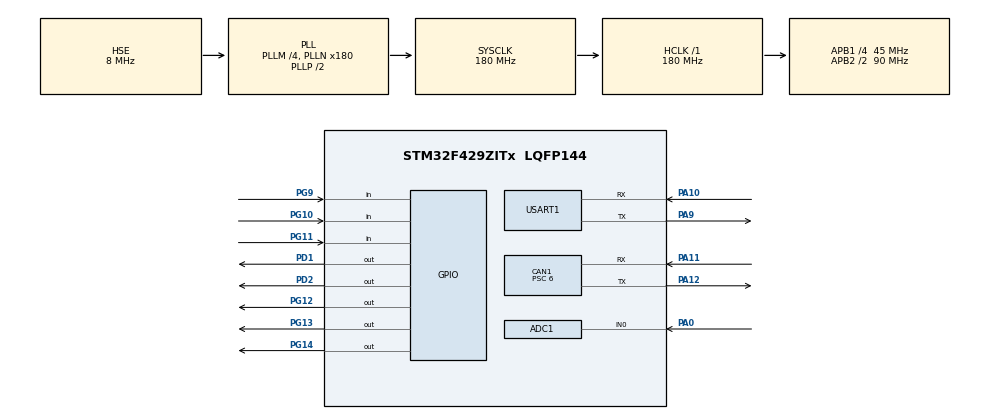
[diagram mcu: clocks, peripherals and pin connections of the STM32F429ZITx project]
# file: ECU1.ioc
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ADC1.Channel-0\#ChannelRegularConversion=ADC_CHANNEL_0
ADC1.ContinuousConvMode=ENABLE
ADC1.NbrOfConversionFlag=1
ADC1.Rank-0\#ChannelRegularConversion=1
ADC1.SamplingTime-0\#ChannelRegularConversion=ADC_SAMPLETIME_3CYCLES
ADC1.master=1
CAN1.BS1=CAN_BS1_9TQ
CAN1.BS2=CAN_BS2_5TQ
CAN1.CalculateBaudRate=500000
CAN1.CalculateTimeBit=2000
CAN1.CalculateTimeQuantum=133.33333333333331
CAN1.NART=ENABLE
CAN1.Prescaler=6
Mcu.Family=STM32F4
Mcu.Name=STM32F429ZITx
Mcu.Package=LQFP144
NVIC.ADC_IRQn=true\:0\:0\:false\:false\:true\:true\:true\:true
NVIC.CAN1_RX0_IRQn=true\:0\:0\:false\:false\:true\:true\:true\:true
NVIC.CAN1_RX1_IRQn=true\:0\:0\:false\:false\:true\:true\:true\:true
NVIC.CAN1_TX_IRQn=true\:0\:0\:false\:false\:true\:true\:true\:true
NVIC.PriorityGroup=NVIC_PRIORITYGROUP_4
NVIC.TIM4_IRQn=true\:0\:0\:false\:false\:true\:true\:true\:true
NVIC.USART1_IRQn=true\:0\:0\:false\:false\:true\:true\:true\:true
PA0/WKUP.Signal=ADCx_IN0
PA10.Mode=Asynchronous
PA10.Signal=USART1_RX
PA11.Mode=CAN_Activate
PA11.Signal=CAN1_RX
PA12.Mode=CAN_Activate
PA12.Signal=CAN1_TX
PA9.Mode=Asynchronous
PA9.Signal=USART1_TX
PD1.Signal=GPIO_Output
PD2.Signal=GPIO_Output
PG10.Signal=GPIO_Input
PG11.Signal=GPIO_Input
PG12.Signal=GPIO_Output
PG13.Signal=GPIO_Output
PG14.Signal=GPIO_Output
PG9.Signal=GPIO_Input
PH0/OSC_IN.Mode=HSE-External-Oscillator
PH0/OSC_IN.Signal=RCC_OSC_IN
PH1/OSC_OUT.Mode=HSE-External-Oscillator
PH1/OSC_OUT.Signal=RCC_OSC_OUT
ProjectManager.HeapSize=0x200
ProjectManager.StackSize=0x400
ProjectManager.TargetToolchain=STM32CubeIDE
RCC.48MHZClocksFreq_Value=90000000
RCC.AHBFreq_Value=180000000
RCC.APB1CLKDivider=RCC_HCLK_DIV4
RCC.APB1Freq_Value=45000000
RCC.APB1TimFreq_Value=90000000
RCC.APB2CLKDivider=RCC_HCLK_DIV2
RCC.APB2Freq_Value=90000000
RCC.APB2TimFreq_Value=180000000
RCC.CortexFreq_Value=180000000
RCC.HCLKFreq_Value=180000000
RCC.HSE_VALUE=8000000
RCC.HSI_VALUE=16000000
RCC.LSE_VALUE=32768
RCC.PLLM=4
RCC.PLLN=180
RCC.PLLSourceVirtual=RCC_PLLSOURCE_HSE
RCC.SYSCLKFreq_VALUE=180000000
RCC.SYSCLKSource=RCC_SYSCLKSOURCE_PLLCLK
RCC.VCOOutputFreq_Value=360000000
SH.ADCx_IN0.0=ADC1_IN0,IN0
TIM4.Period=9000-1
TIM4.Prescaler=10000-1
USART1.VirtualMode=VM_ASYNC
VP_TIM4_VS_ClockSourceINT.Mode=Internal
board=custom

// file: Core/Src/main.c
/* USER CODE BEGIN Header */
/**
  ******************************************************************************
  * @file           : main.c
  * @brief          : Main program body
  ******************************************************************************
  * @attention
  *
  * Copyright (c) 2026 STMicroelectronics.
  * All rights reserved.
  *
  * This software is licensed under terms that can be found in the LICENSE file
  * in the root directory of this software component.
  * If no LICENSE file comes with this software, it is provided AS-IS.
  *
  ******************************************************************************
  */
/* USER CODE END Header */
#include "main.h"

/* USER CODE BEGIN Includes */
#include "dht11.h"
#include<stdio.h>
#include<string.h>

#define temp_id 0x100
#define speed_id 0x200
#define ind_id 0x300

char ind[50];       // for indicator
uint8_t flag = 1;
uint8_t delay;
extern uint8_t adc_value;
extern DHT11_Data_t data;
//uint8_t ind_can[1];    for sending the indicator data to the CAN
uint8_t tim_flag;

/* USER CODE END Includes */

ADC_HandleTypeDef hadc1;

CAN_HandleTypeDef hcan1;

TIM_HandleTypeDef htim4;

UART_HandleTypeDef huart1;

void SystemClock_Config(void);
static void MX_GPIO_Init(void);
static void MX_ADC1_Init(void);
static void MX_CAN1_Init(void);
static void MX_USART1_UART_Init(void);
static void MX_TIM4_Init(void);

/* USER CODE BEGIN 0 */

CAN_TxHeaderTypeDef TxHeader;
uint32_t TxMailbox;
uint8_t TxData[8], RxData[8];
uint8_t count;
void can_transmitter(uint16_t id, uint8_t *data,uint8_t size)
{
	TxHeader.StdId = id;
	TxHeader.IDE = CAN_ID_STD;    // use standard ID
	TxHeader.RTR = CAN_RTR_DATA;  //sending data
	TxHeader.DLC = size;             //Length is 1 byte;
	for(int i=0;i<size;i++)
	{
		TxData[i] = data[i];
	}
	if(HAL_CAN_AddTxMessage(&hcan1, &TxHeader, TxData, &TxMailbox) == HAL_OK)
		HAL_GPIO_WritePin(GPIOG, GPIO_PIN_14, 0);
	else
		HAL_GPIO_WritePin(GPIOG, GPIO_PIN_14, 1);
}

/* Digital Keypad */
#define LEVEL 0
#define STATE 1
unsigned char read_digital_keypad(unsigned char detection_type)
{
	static uint8_t pin1=1,pin2=1,pin3=1, once1=1, once2=1, once3=1;
	pin1 = HAL_GPIO_ReadPin(GPIOG, GPIO_PIN_9);
	pin2 = HAL_GPIO_ReadPin(GPIOG, GPIO_PIN_10);
	pin3 = HAL_GPIO_ReadPin(GPIOG, GPIO_PIN_11);
	if(detection_type == LEVEL)
	{
		if(pin1 == 0)            return 1;
		else if(pin2 == 0)       return 2;
		else if(pin3 == 0)       return 3;
		else                     return 0;
	}
	else if(detection_type == STATE)
	{
		if(pin1 == 0 && once1)
		{
			once1 = 0;
			return 1;
		}
		else if(pin1 == 1) once1=1;

		if(pin2 == 0 && once2)
		{
			once2 = 0;
			return 2;
		}
		else if(pin2 == 1) once2=1;

		if(pin3 == 0 && once3)
		{
			once3=0;
			return 3;
		}
		else if(pin3 == 1) once3=1;
		else return 0;
	}
	return 0;
}

/* indicator function */
void indicator()
{
	  unsigned char sw = read_digital_keypad(STATE);    // reading the switch value in the edge/state triggering mode
	  if(sw == 1)
	  {
		  flag = 1;

	  }
	  else if(sw == 2)
	  {
	  	  flag = 2;
	  }
	  else if(sw == 3)
	  {
	  	  flag = 0;
	  }
	  if(delay++ == 500)       // Toggling the LEDs with non blocking delay
	  {
		  delay=0;
		  if(flag == 0)
		  {
			  HAL_GPIO_WritePin(GPIOD, GPIO_PIN_0, 0);
			  HAL_GPIO_WritePin(GPIOD, GPIO_PIN_1, 0);
		  }
		  else if(flag == 1)
		  {
			  HAL_GPIO_TogglePin(GPIOD, GPIO_PIN_0);
		  }
	      else if(flag == 2)
	      {
	  	      HAL_GPIO_TogglePin(GPIOD, GPIO_PIN_1);
	      }
	  }
	  if(flag == 0)      // printing the indicator position
	  {
		  //ind_can[0] = 'N';    //printing only one character through CAN
		  sprintf(ind,"NoI");
	  }
	  else if(flag == 1)
	  {
		  //ind_can[0] = 'R';
		  sprintf(ind,"RiI");
	  }
	  else if(flag == 2)
	  {
		  //ind_can[0] = 'L';
		  sprintf(ind,"LiI");
	  }

}

/* USER CODE END 0 */

int main(void)
{

  /* MCU Configuration--------------------------------------------------------*/

  /* Reset of all peripherals, Initializes the Flash interface and the Systick. */
  HAL_Init();

  /* Configure the system clock */
  SystemClock_Config();

  /* Initialize all configured peripherals */
  MX_GPIO_Init();
  MX_ADC1_Init();
  MX_CAN1_Init();
  MX_USART1_UART_Init();
  MX_TIM4_Init();
  /* USER CODE BEGIN 2 */
DWT_Delay_Init();    //"is written to turn ON the internal CPU cycle counter so we can create very accurate microsecond delays".
  /* USER CODE END 2 */

  /* Infinite loop */
  /* USER CODE BEGIN WHILE */
  char temp[20];        //for temperature
  char speed[20];       //for speed

  HAL_TIM_Base_Start_IT(&htim4);
  HAL_ADC_Start_IT(&hadc1);         //Varying the speed using the potentiometer for which we need ADC.
  HAL_CAN_Start(&hcan1);

  while (1)
  {
    /* USER CODE END WHILE */

    /* USER CODE BEGIN 3 */
	  indicator();   // calling indicator

	  sprintf(speed,"%02d", adc_value);       //printing the adc value  through UART.

	  sprintf(temp, "%02d", data.temperature);     //printing the temperature value through UART.

/* Transmitting the data(indicator, speed, temperature) through UART */
	  HAL_UART_Transmit(&huart1, ind, strlen(ind), HAL_MAX_DELAY);
	  HAL_UART_Transmit(&huart1, speed, strlen(speed), HAL_MAX_DELAY);
	  HAL_UART_Transmit(&huart1, temp, strlen(temp), HAL_MAX_DELAY);

	  if(tim_flag)
	  {
		  tim_flag = 0;
		  HAL_GPIO_TogglePin(GPIOG, GPIO_PIN_13);
	  // Transmitting the data to CAN
		  can_transmitter(ind_id, ind, strlen(ind)+1);
		  can_transmitter(speed_id, speed, strlen(speed)+1);
		  can_transmitter(temp_id, temp, strlen(temp)+1);
	  }
  }
  /* USER CODE END 3 */
}

void SystemClock_Config(void)
{
  RCC_OscInitTypeDef RCC_OscInitStruct = {0};
  RCC_ClkInitTypeDef RCC_ClkInitStruct = {0};

  /** Configure the main internal regulator output voltage
  */
  __HAL_RCC_PWR_CLK_ENABLE();
  __HAL_PWR_VOLTAGESCALING_CONFIG(PWR_REGULATOR_VOLTAGE_SCALE1);

  /** Initializes the RCC Oscillators according to the specified parameters
  * in the RCC_OscInitTypeDef structure.
  */
  RCC_OscInitStruct.OscillatorType = RCC_OSCILLATORTYPE_HSE;
  RCC_OscInitStruct.HSEState = RCC_HSE_ON;
  RCC_OscInitStruct.PLL.PLLState = RCC_PLL_ON;
  RCC_OscInitStruct.PLL.PLLSource = RCC_PLLSOURCE_HSE;
  RCC_OscInitStruct.PLL.PLLM = 4;
  RCC_OscInitStruct.PLL.PLLN = 180;
  RCC_OscInitStruct.PLL.PLLP = RCC_PLLP_DIV2;
  RCC_OscInitStruct.PLL.PLLQ = 4;
  if (HAL_RCC_OscConfig(&RCC_OscInitStruct) != HAL_OK)
  {
    Error_Handler();
  }

  /** Activate the Over-Drive mode
  */
  if (HAL_PWREx_EnableOverDrive() != HAL_OK)
  {
    Error_Handler();
  }

  /** Initializes the CPU, AHB and APB buses clocks
  */
  RCC_ClkInitStruct.ClockType = RCC_CLOCKTYPE_HCLK|RCC_CLOCKTYPE_SYSCLK
                              |RCC_CLOCKTYPE_PCLK1|RCC_CLOCKTYPE_PCLK2;
  RCC_ClkInitStruct.SYSCLKSource = RCC_SYSCLKSOURCE_PLLCLK;
  RCC_ClkInitStruct.AHBCLKDivider = RCC_SYSCLK_DIV1;
  RCC_ClkInitStruct.APB1CLKDivider = RCC_HCLK_DIV4;
  RCC_ClkInitStruct.APB2CLKDivider = RCC_HCLK_DIV2;

  if (HAL_RCC_ClockConfig(&RCC_ClkInitStruct, FLASH_LATENCY_5) != HAL_OK)
  {
    Error_Handler();
  }
}

static void MX_ADC1_Init(void)
{

  ADC_ChannelConfTypeDef sConfig = {0};

  /** Configure the global features of the ADC (Clock, Resolution, Data Alignment and number of conversion)
  */
  hadc1.Instance = ADC1;
  hadc1.Init.ClockPrescaler = ADC_CLOCK_SYNC_PCLK_DIV4;
  hadc1.Init.Resolution = ADC_RESOLUTION_12B;
  hadc1.Init.ScanConvMode = DISABLE;
  hadc1.Init.ContinuousConvMode = ENABLE;
  hadc1.Init.DiscontinuousConvMode = DISABLE;
  hadc1.Init.ExternalTrigConvEdge = ADC_EXTERNALTRIGCONVEDGE_NONE;
  hadc1.Init.ExternalTrigConv = ADC_SOFTWARE_START;
  hadc1.Init.DataAlign = ADC_DATAALIGN_RIGHT;
  hadc1.Init.NbrOfConversion = 1;
  hadc1.Init.DMAContinuousRequests = DISABLE;
  hadc1.Init.EOCSelection = ADC_EOC_SINGLE_CONV;
  if (HAL_ADC_Init(&hadc1) != HAL_OK)
  {
    Error_Handler();
  }

  /** Configure for the selected ADC regular channel its corresponding rank in the sequencer and its sample time.
  */
  sConfig.Channel = ADC_CHANNEL_0;
  sConfig.Rank = 1;
  sConfig.SamplingTime = ADC_SAMPLETIME_3CYCLES;
  if (HAL_ADC_ConfigChannel(&hadc1, &sConfig) != HAL_OK)
  {
    Error_Handler();
  }

}

static void MX_CAN1_Init(void)
{

  hcan1.Instance = CAN1;
  hcan1.Init.Prescaler = 6;
  hcan1.Init.Mode = CAN_MODE_NORMAL;
  hcan1.Init.SyncJumpWidth = CAN_SJW_1TQ;
  hcan1.Init.TimeSeg1 = CAN_BS1_9TQ;
  hcan1.Init.TimeSeg2 = CAN_BS2_5TQ;
  hcan1.Init.TimeTriggeredMode = DISABLE;
  hcan1.Init.AutoBusOff = DISABLE;
  hcan1.Init.AutoWakeUp = DISABLE;
  hcan1.Init.AutoRetransmission = ENABLE;
  hcan1.Init.ReceiveFifoLocked = DISABLE;
  hcan1.Init.TransmitFifoPriority = DISABLE;
  if (HAL_CAN_Init(&hcan1) != HAL_OK)
  {
    Error_Handler();
  }
  /* USER CODE BEGIN CAN1_Init 2 */
  CAN_FilterTypeDef sFilterConfig;

        sFilterConfig.FilterActivation = ENABLE;
        sFilterConfig.FilterBank = 0;
        sFilterConfig.FilterFIFOAssignment = CAN_FILTER_FIFO0;

        // For a 32-bit filter to accept StdId 0x103:
        // The StdId occupies bits [31:21] of the 32-bit register.
        sFilterConfig.FilterIdHigh = 0x0000;
        sFilterConfig.FilterIdLow = 0x0000;

        // To accept ONLY 0x103, set mask to all 1s in those positions (0x7FF << 5)
        // To accept EVERYTHING for testing, set mask to 0
        sFilterConfig.FilterMaskIdHigh = 0x0000;
        sFilterConfig.FilterMaskIdLow = 0x0000;

        sFilterConfig.FilterMode = CAN_FILTERMODE_IDMASK;
        sFilterConfig.FilterScale = CAN_FILTERSCALE_32BIT;
        sFilterConfig.SlaveStartFilterBank = 14;

        if (HAL_CAN_ConfigFilter(&hcan1, &sFilterConfig) != HAL_OK) {
            Error_Handler();
        }
  /* USER CODE END CAN1_Init 2 */

}

static void MX_TIM4_Init(void)
{

  TIM_ClockConfigTypeDef sClockSourceConfig = {0};
  TIM_MasterConfigTypeDef sMasterConfig = {0};

  htim4.Instance = TIM4;
  htim4.Init.Prescaler = 10000-1;
  htim4.Init.CounterMode = TIM_COUNTERMODE_UP;
  htim4.Init.Period = 9000-1;
  htim4.Init.ClockDivision = TIM_CLOCKDIVISION_DIV1;
  htim4.Init.AutoReloadPreload = TIM_AUTORELOAD_PRELOAD_DISABLE;
  if (HAL_TIM_Base_Init(&htim4) != HAL_OK)
  {
    Error_Handler();
  }
  sClockSourceConfig.ClockSource = TIM_CLOCKSOURCE_INTERNAL;
  if (HAL_TIM_ConfigClockSource(&htim4, &sClockSourceConfig) != HAL_OK)
  {
    Error_Handler();
  }
  sMasterConfig.MasterOutputTrigger = TIM_TRGO_RESET;
  sMasterConfig.MasterSlaveMode = TIM_MASTERSLAVEMODE_DISABLE;
  if (HAL_TIMEx_MasterConfigSynchronization(&htim4, &sMasterConfig) != HAL_OK)
  {
    Error_Handler();
  }

}

static void MX_USART1_UART_Init(void)
{

  huart1.Instance = USART1;
  huart1.Init.BaudRate = 115200;
  huart1.Init.WordLength = UART_WORDLENGTH_8B;
  huart1.Init.StopBits = UART_STOPBITS_1;
  huart1.Init.Parity = UART_PARITY_NONE;
  huart1.Init.Mode = UART_MODE_TX_RX;
  huart1.Init.HwFlowCtl = UART_HWCONTROL_NONE;
  huart1.Init.OverSampling = UART_OVERSAMPLING_16;
  if (HAL_UART_Init(&huart1) != HAL_OK)
  {
    Error_Handler();
  }

}

static void MX_GPIO_Init(void)
{
  GPIO_InitTypeDef GPIO_InitStruct = {0};

  /* GPIO Ports Clock Enable */
  __HAL_RCC_GPIOH_CLK_ENABLE();
  __HAL_RCC_GPIOA_CLK_ENABLE();
  __HAL_RCC_GPIOD_CLK_ENABLE();
  __HAL_RCC_GPIOG_CLK_ENABLE();

  /*Configure GPIO pin Output Level */
  HAL_GPIO_WritePin(GPIOD, GPIO_PIN_1|GPIO_PIN_2, GPIO_PIN_RESET);

  /*Configure GPIO pin Output Level */
  HAL_GPIO_WritePin(GPIOG, GPIO_PIN_12|GPIO_PIN_13|GPIO_PIN_14, GPIO_PIN_RESET);

  /*Configure GPIO pins : PD1 PD2 */
  GPIO_InitStruct.Pin = GPIO_PIN_1|GPIO_PIN_2;
  GPIO_InitStruct.Mode = GPIO_MODE_OUTPUT_PP;
  GPIO_InitStruct.Pull = GPIO_NOPULL;
  GPIO_InitStruct.Speed = GPIO_SPEED_FREQ_LOW;
  HAL_GPIO_Init(GPIOD, &GPIO_InitStruct);

  /*Configure GPIO pins : PG9 PG10 PG11 */
  GPIO_InitStruct.Pin = GPIO_PIN_9|GPIO_PIN_10|GPIO_PIN_11;
  GPIO_InitStruct.Mode = GPIO_MODE_INPUT;
  GPIO_InitStruct.Pull = GPIO_NOPULL;
  HAL_GPIO_Init(GPIOG, &GPIO_InitStruct);

  /*Configure GPIO pins : PG12 PG13 PG14 */
  GPIO_InitStruct.Pin = GPIO_PIN_12|GPIO_PIN_13|GPIO_PIN_14;
  GPIO_InitStruct.Mode = GPIO_MODE_OUTPUT_PP;
  GPIO_InitStruct.Pull = GPIO_NOPULL;
  GPIO_InitStruct.Speed = GPIO_SPEED_FREQ_LOW;
  HAL_GPIO_Init(GPIOG, &GPIO_InitStruct);

}

void Error_Handler(void)
{
  __disable_irq();
  while (1)
  {
  }
}
